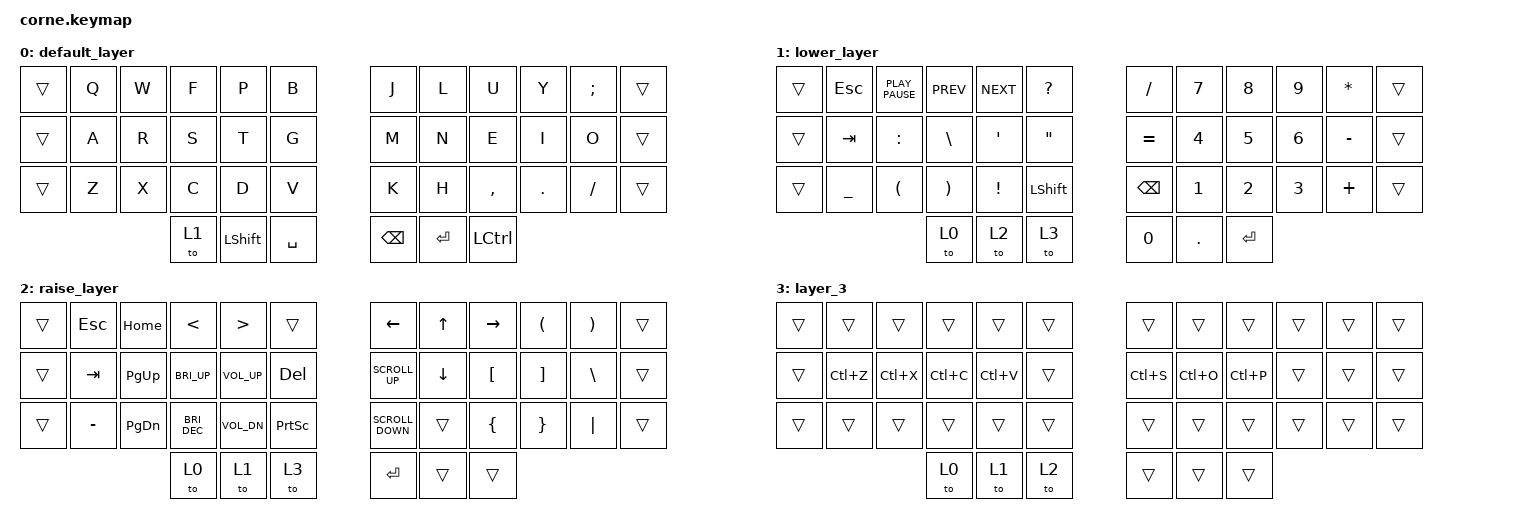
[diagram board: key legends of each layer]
/*
 * Copyright (c) 2020 The ZMK Contributors
 *
 * SPDX-License-Identifier: MIT
 */

#include <behaviors.dtsi>
#include <dt-bindings/zmk/keys.h>

#define default_layer 0
#define lower_layer   1
#define raise_layer   2

/ {
    keymap {
        compatible = "zmk,keymap";

        default_layer {
            // -----------------------------------------------------------------------------------------
            // |  TAB |  Q  |  W  |  E  |  R  |  T  |   |  Y  |  U   |  I  |  O  |  P  | BKSP |
            // | CTRL |  A  |  S  |  D  |  F  |  G  |   |  H  |  J   |  K  |  L  |  ;  |  '   |
            // | SHFT |  Z  |  X  |  C  |  V  |  B  |   |  N  |  M   |  ,  |  .  |  /  | ESC  |
            //                    | GUI | LWR | SPC |   | ENT | RSE  | ALT |

            bindings = <
&trans  &kp Q  &kp W  &kp F      &kp P      &kp B            &kp J      &kp L             &kp U    &kp Y  &kp SEMICOLON  &trans
&trans  &kp A  &kp R  &kp S      &kp T      &kp G            &kp M      &kp N             &kp E    &kp I          &kp O  &trans
&trans  &kp Z  &kp X  &kp C      &kp D      &kp V            &kp K      &kp H         &kp COMMA  &kp DOT       &kp FSLH  &trans
                      &to 1  &kp LSHFT  &kp SPACE    &kp BACKSPACE  &kp ENTER  &kp LEFT_CONTROL
            >;
        };

        lower_layer {
            // -----------------------------------------------------------------------------------------
            // |  TAB |  1  |  2  |  3  |  4  |  5  |   |  6  |  7  |  8  |  9  |  0  | BKSP |
            // | BTCLR| BT1 | BT2 | BT3 | BT4 | BT5 |   | LFT | DWN |  UP | RGT |     |      |
            // | SHFT |     |     |     |     |     |   |     |     |     |     |     |      |
            //                    | GUI |     | SPC |   | ENT |     | ALT |

            bindings = <
&trans      &kp ESCAPE      &kp K_PLAY_PAUSE             &kp K_PREV      &kp K_NEXT       &kp QUESTION    &kp SLASH  &kp NUMBER_7  &kp NUMBER_8  &kp NUMBER_9  &kp ASTERISK  &trans
&trans         &kp TAB             &kp COLON          &kp BACKSLASH  &kp APOSTROPHE  &kp DOUBLE_QUOTES    &kp EQUAL  &kp NUMBER_4  &kp NUMBER_5  &kp NUMBER_6     &kp MINUS  &trans
&trans  &kp UNDERSCORE  &kp LEFT_PARENTHESIS  &kp RIGHT_PARENTHESIS        &kp EXCL     &kp LEFT_SHIFT     &kp BSPC  &kp NUMBER_1  &kp NUMBER_2  &kp NUMBER_3      &kp PLUS  &trans
                                                              &to 0           &to 2              &to 3       &kp N0    &kp PERIOD    &kp RETURN
            >;
        };

        raise_layer {
            // -----------------------------------------------------------------------------------------
            // |  TAB |  !  |  @  |  #  |  $  |  %  |   |  ^  |  &  |  *  |  (  |  )  | BKSP |
            // | CTRL |     |     |     |     |     |   |  -  |  =  |  [  |  ]  |  \  |  `   |
            // | SHFT |     |     |     |     |     |   |  _  |  +  |  {  |  }  | "|" |  ~   |
            //                    | GUI |     | SPC |   | ENT |     | ALT |

            bindings = <
&trans    &kp ESC       &kp HOME  &kp LESS_THAN  &kp GREATER_THAN           &trans       &kp LEFT_ARROW    &kp UP_ARROW  &kp RIGHT_ARROW  &kp LPAR  &kp RPAR  &trans
&trans    &kp TAB    &kp PAGE_UP   &kp C_BRI_UP   &kp C_VOLUME_UP       &kp DELETE      &kp K_SCROLL_UP  &kp DOWN_ARROW         &kp LBKT  &kp RBKT  &kp BSLH  &trans
&trans  &kp MINUS  &kp PAGE_DOWN  &kp C_BRI_DEC      &kp C_VOL_DN  &kp PRINTSCREEN    &kp K_SCROLL_DOWN          &trans         &kp LBRC  &kp RBRC  &kp PIPE  &trans
                                          &to 0             &to 1            &to 3              &kp RET          &trans           &trans
            >;
        };

        layer_3 {
            bindings = <
&trans     &trans     &trans     &trans     &trans  &trans       &trans     &trans     &trans  &trans  &trans  &trans
&trans  &kp LC(Z)  &kp LC(X)  &kp LC(C)  &kp LC(V)  &trans    &kp LC(S)  &kp LC(O)  &kp LC(P)  &trans  &trans  &trans
&trans     &trans     &trans     &trans     &trans  &trans       &trans     &trans     &trans  &trans  &trans  &trans
                                  &to 0      &to 1   &to 2       &trans     &trans     &trans
            >;
        };
    };
};
